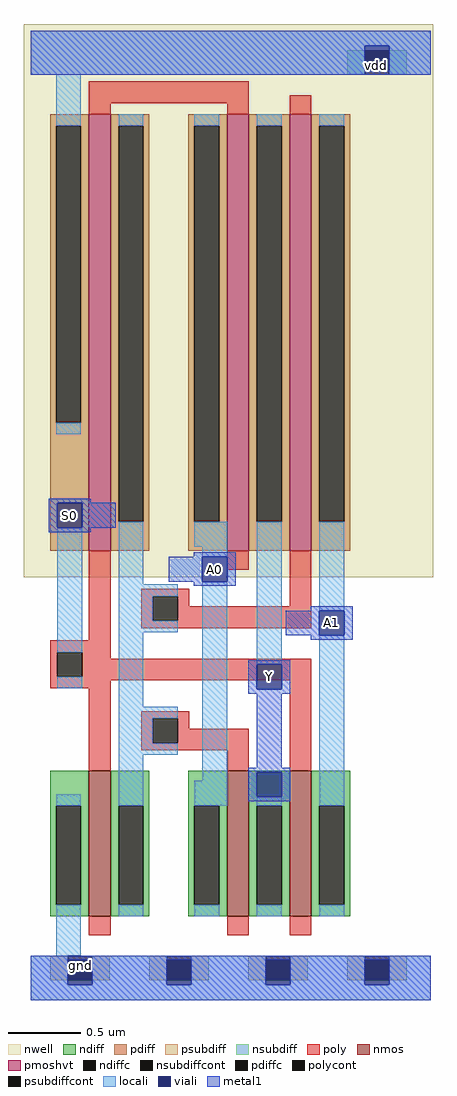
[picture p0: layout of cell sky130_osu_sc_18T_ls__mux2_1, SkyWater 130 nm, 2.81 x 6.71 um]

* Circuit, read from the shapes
.subckt sky130_osu_sc_18T_ls__mux2_1 S0 Y A0 A1
XM1 n1 S0 gnd gnd sky130_fd_pr__nfet_01v8 w=1 l=0.15
XM2 Y n1 A0 gnd sky130_fd_pr__nfet_01v8 w=1 l=0.15
XM3 A1 S0 Y gnd sky130_fd_pr__nfet_01v8 w=1 l=0.15
XM4 n1 S0 vdd vdd sky130_fd_pr__pfet_01v8_hvt w=3 l=0.15
XM5 Y S0 A0 vdd sky130_fd_pr__pfet_01v8_hvt w=3 l=0.15
XM6 A1 n1 Y vdd sky130_fd_pr__pfet_01v8_hvt w=3 l=0.15
.ends

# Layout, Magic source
magic
tech sky130A
magscale 1 2
<< nwell >>
rect -9 581 553 1341
<< nmos >>
rect 80 115 110 315
rect 270 115 300 315
rect 356 115 386 315
<< pmoshvt >>
rect 80 617 110 1217
rect 270 617 300 1217
rect 356 617 386 1217
<< ndiff >>
rect 27 267 80 315
rect 27 131 35 267
rect 69 131 80 267
rect 27 115 80 131
rect 110 267 163 315
rect 110 131 121 267
rect 155 131 163 267
rect 110 115 163 131
rect 217 267 270 315
rect 217 131 225 267
rect 259 131 270 267
rect 217 115 270 131
rect 300 267 356 315
rect 300 131 311 267
rect 345 131 356 267
rect 300 115 356 131
rect 386 267 439 315
rect 386 131 397 267
rect 431 131 439 267
rect 386 115 439 131
<< pdiff >>
rect 27 1201 80 1217
rect 27 793 35 1201
rect 69 793 80 1201
rect 27 617 80 793
rect 110 1201 163 1217
rect 110 657 121 1201
rect 155 657 163 1201
rect 110 617 163 657
rect 217 1201 270 1217
rect 217 657 225 1201
rect 259 657 270 1201
rect 217 617 270 657
rect 300 1201 356 1217
rect 300 657 311 1201
rect 345 657 356 1201
rect 300 617 356 657
rect 386 1201 439 1217
rect 386 657 397 1201
rect 431 657 439 1201
rect 386 617 439 657
<< ndiffc >>
rect 35 131 69 267
rect 121 131 155 267
rect 225 131 259 267
rect 311 131 345 267
rect 397 131 431 267
<< pdiffc >>
rect 35 793 69 1201
rect 121 657 155 1201
rect 225 657 259 1201
rect 311 657 345 1201
rect 397 657 431 1201
<< psubdiff >>
rect 27 27 51 61
rect 85 27 109 61
rect 163 27 187 61
rect 221 27 245 61
rect 299 27 323 61
rect 357 27 381 61
rect 435 27 459 61
rect 493 27 517 61
<< nsubdiff >>
rect 435 1271 459 1305
rect 493 1271 517 1305
<< psubdiffcont >>
rect 51 27 85 61
rect 187 27 221 61
rect 323 27 357 61
rect 459 27 493 61
<< nsubdiffcont >>
rect 459 1271 493 1305
<< poly >>
rect 80 1232 300 1262
rect 80 1217 110 1232
rect 270 1217 300 1232
rect 356 1217 386 1243
rect 80 494 110 617
rect 270 591 300 617
rect 152 555 218 565
rect 152 521 168 555
rect 202 541 218 555
rect 356 541 386 617
rect 202 521 386 541
rect 152 511 386 521
rect 27 478 110 494
rect 27 444 37 478
rect 71 469 110 478
rect 71 444 386 469
rect 27 439 386 444
rect 27 428 110 439
rect 80 315 110 428
rect 152 387 218 397
rect 152 353 168 387
rect 202 373 218 387
rect 202 353 300 373
rect 152 343 300 353
rect 270 315 300 343
rect 356 315 386 439
rect 80 89 110 115
rect 270 89 300 115
rect 356 89 386 115
<< polycont >>
rect 168 521 202 555
rect 37 444 71 478
rect 168 353 202 387
<< locali >>
rect 0 1311 550 1332
rect 0 1271 459 1311
rect 493 1271 550 1311
rect 35 1201 69 1271
rect 35 777 69 793
rect 121 1201 155 1217
rect 37 478 71 649
rect 37 428 71 444
rect 121 571 155 657
rect 225 1201 259 1217
rect 311 1201 345 1217
rect 225 623 270 657
rect 236 609 270 623
rect 121 555 202 571
rect 121 521 168 555
rect 121 505 202 521
rect 121 403 155 505
rect 121 387 202 403
rect 121 353 168 387
rect 121 337 202 353
rect 35 267 69 283
rect 35 61 69 131
rect 121 267 155 337
rect 236 301 270 575
rect 311 461 345 657
rect 397 1201 431 1217
rect 397 535 431 657
rect 121 115 155 131
rect 225 267 270 301
rect 311 267 345 279
rect 225 115 259 131
rect 311 115 345 131
rect 397 267 431 501
rect 397 115 431 131
rect 0 21 51 61
rect 85 21 187 61
rect 221 21 323 61
rect 357 21 459 61
rect 493 21 550 61
rect 0 0 550 21
<< viali >>
rect 459 1305 493 1311
rect 459 1277 493 1305
rect 37 649 71 683
rect 236 575 270 609
rect 311 427 345 461
rect 397 501 431 535
rect 311 279 345 313
rect 51 27 85 55
rect 51 21 85 27
rect 187 27 221 55
rect 187 21 221 27
rect 323 27 357 55
rect 323 21 357 27
rect 459 27 493 55
rect 459 21 493 27
<< metal1 >>
rect 0 1311 550 1332
rect 0 1277 459 1311
rect 493 1277 550 1311
rect 0 1271 550 1277
rect 25 683 83 689
rect 25 649 37 683
rect 71 649 117 683
rect 25 643 83 649
rect 224 609 282 615
rect 190 575 236 609
rect 270 575 282 609
rect 224 569 282 575
rect 385 535 443 541
rect 351 501 397 535
rect 431 501 443 535
rect 385 495 443 501
rect 299 461 357 467
rect 299 427 311 461
rect 345 427 357 461
rect 299 421 357 427
rect 311 319 345 421
rect 299 313 357 319
rect 299 279 311 313
rect 345 279 357 313
rect 299 273 357 279
rect 0 55 550 61
rect 0 21 51 55
rect 85 21 187 55
rect 221 21 323 55
rect 357 21 459 55
rect 493 21 550 55
rect 0 0 550 21
<< labels >>
rlabel metal1 54 666 54 666 1 S0
port 1 n
rlabel metal1 328 444 328 444 1 Y
port 2 n
rlabel metal1 253 592 253 592 1 A0
port 3 n
rlabel metal1 414 518 414 518 1 A1
port 4 n
rlabel viali 68 48 68 48 1 gnd
rlabel viali 476 1284 476 1284 1 vdd
<< end >>
